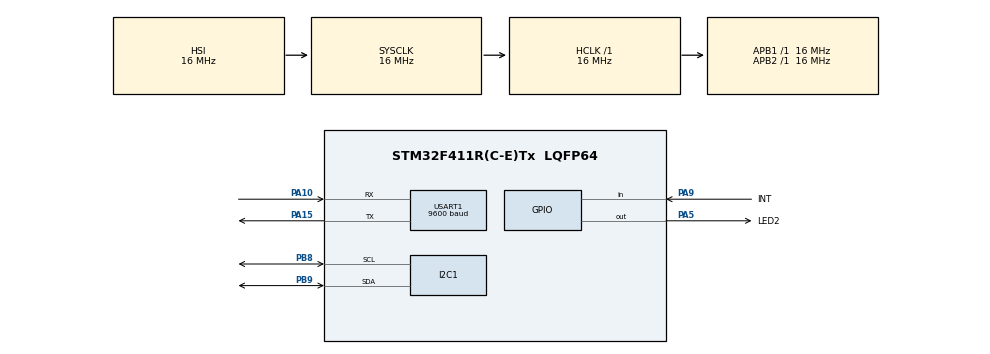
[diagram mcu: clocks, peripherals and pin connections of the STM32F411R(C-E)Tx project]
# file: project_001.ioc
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Mcu.Family=STM32F4
Mcu.Name=STM32F411R(C-E)Tx
Mcu.Package=LQFP64
NVIC.PriorityGroup=NVIC_PRIORITYGROUP_4
NVIC.TIM1_UP_TIM10_IRQn=true\:0\:0\:false\:false\:true\:true\:true\:true
NVIC.USART1_IRQn=true\:0\:0\:false\:false\:true\:true\:true\:true
PA10.Mode=Asynchronous
PA10.Signal=USART1_RX
PA15.Mode=Asynchronous
PA15.Signal=USART1_TX
PA5.GPIO_Label=LED2
PA5.Signal=GPIO_Output
PA9.GPIO_Label=INT
PA9.Signal=GPIO_Input
PB8.Mode=I2C
PB8.Signal=I2C1_SCL
PB9.Mode=I2C
PB9.Signal=I2C1_SDA
ProjectManager.HeapSize=0x200
ProjectManager.StackSize=0x400
ProjectManager.TargetToolchain=STM32CubeIDE
RCC.AHBFreq_Value=16000000
RCC.APB1Freq_Value=16000000
RCC.APB2Freq_Value=16000000
RCC.CortexFreq_Value=16000000
RCC.HSE_VALUE=25000000
RCC.HSI_VALUE=16000000
RCC.LSE_VALUE=32768
RCC.SYSCLKFreq_VALUE=16000000
RCC.VCOOutputFreq_Value=192000000
TIM10.AutoReloadPreload=TIM_AUTORELOAD_PRELOAD_ENABLE
TIM10.Period=9999
TIM10.Prescaler=1599
USART1.BaudRate=9600
USART1.VirtualMode=VM_ASYNC
VP_TIM10_VS_ClockSourceINT.Mode=Enable_Timer
board=custom

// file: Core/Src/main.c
/* USER CODE BEGIN Header */
/**
  ******************************************************************************
  * @file           : main.c
  * @brief          : Main program body
  ******************************************************************************
  * @attention
  *
  * Copyright (c) 2023 STMicroelectronics.
  * All rights reserved.
  *
  * This software is licensed under terms that can be found in the LICENSE file
  * in the root directory of this software component.
  * If no LICENSE file comes with this software, it is provided AS-IS.
  *
  ******************************************************************************
  */
/* USER CODE END Header */
#include "main.h"
#include "i2c.h"
#include "tim.h"
#include "usart.h"
#include "gpio.h"

/* USER CODE BEGIN Includes */
#include "TSL2591.h"

/* USER CODE END Includes */

/* USER CODE BEGIN PV */
unsigned int TemperatureInt = 0;
unsigned int light_value = 0;
uint8_t TempReg = 0x05;
float temp_val = 0.0;
uint16_t size = 0;
uint8_t buf[5] = {0};
char message_temp[10] = {0};
/* USER CODE END PV */

void SystemClock_Config(void);

int main(void)
{

  /* MCU Configuration--------------------------------------------------------*/

  /* Reset of all peripherals, Initializes the Flash interface and the Systick. */
  HAL_Init();

  /* Configure the system clock */
  SystemClock_Config();

  /* Initialize all configured peripherals */
  MX_GPIO_Init();
  MX_TIM10_Init();
  MX_USART1_UART_Init();
  MX_I2C1_Init();
  /* USER CODE BEGIN 2 */
  HAL_TIM_Base_Start_IT(&htim10);
  DEV_ModuleInit();
  TSL2591_Init();
  /* USER CODE END 2 */

  /* Infinite loop */
  while (1)
  {

    /* USER CODE BEGIN 3 */
	light_value = TSL2591_Read_Lux();

  }
  /* USER CODE END 3 */
}

void SystemClock_Config(void)
{
  RCC_OscInitTypeDef RCC_OscInitStruct = {0};
  RCC_ClkInitTypeDef RCC_ClkInitStruct = {0};

  /** Configure the main internal regulator output voltage
  */
  __HAL_RCC_PWR_CLK_ENABLE();
  __HAL_PWR_VOLTAGESCALING_CONFIG(PWR_REGULATOR_VOLTAGE_SCALE1);

  /** Initializes the RCC Oscillators according to the specified parameters
  * in the RCC_OscInitTypeDef structure.
  */
  RCC_OscInitStruct.OscillatorType = RCC_OSCILLATORTYPE_HSI;
  RCC_OscInitStruct.HSIState = RCC_HSI_ON;
  RCC_OscInitStruct.HSICalibrationValue = RCC_HSICALIBRATION_DEFAULT;
  RCC_OscInitStruct.PLL.PLLState = RCC_PLL_NONE;
  if (HAL_RCC_OscConfig(&RCC_OscInitStruct) != HAL_OK)
  {
    Error_Handler();
  }

  /** Initializes the CPU, AHB and APB buses clocks
  */
  RCC_ClkInitStruct.ClockType = RCC_CLOCKTYPE_HCLK|RCC_CLOCKTYPE_SYSCLK
                              |RCC_CLOCKTYPE_PCLK1|RCC_CLOCKTYPE_PCLK2;
  RCC_ClkInitStruct.SYSCLKSource = RCC_SYSCLKSOURCE_HSI;
  RCC_ClkInitStruct.AHBCLKDivider = RCC_SYSCLK_DIV1;
  RCC_ClkInitStruct.APB1CLKDivider = RCC_HCLK_DIV1;
  RCC_ClkInitStruct.APB2CLKDivider = RCC_HCLK_DIV1;

  if (HAL_RCC_ClockConfig(&RCC_ClkInitStruct, FLASH_LATENCY_0) != HAL_OK)
  {
    Error_Handler();
  }
}

/* USER CODE BEGIN 4 */

void HAL_TIM_PeriodElapsedCallback(TIM_HandleTypeDef *htim)
{
	if(htim -> Instance == TIM10) {
		//HAL_GPIO_TogglePin(LED2_GPIO_Port, LED2_Pin);
		HAL_I2C_Master_Transmit(&hi2c1, (0x18 << 1), &TempReg, 1, HAL_MAX_DELAY);
		HAL_I2C_Master_Receive(&hi2c1, (0x18 << 1), &buf[0], 2, HAL_MAX_DELAY);
		temp_val = (uint8_t)(buf[0] << 4) + buf[1] / 16.0;
		TemperatureInt = temp_val * 1000;
		size = sprintf(message_temp, "%d%d\n\r", TemperatureInt, light_value);
		HAL_UART_Transmit_IT(&huart1, message_temp, size); //sending one byte

	}
}

void HAL_UART_TxCpltCallback(UART_HandleTypeDef *huart)
{
	if(huart -> Instance == USART1)
	{
		HAL_GPIO_TogglePin(LED2_GPIO_Port, LED2_Pin);

	}
}

/* USER CODE END 4 */

void Error_Handler(void)
{
  __disable_irq();
  while (1)
  {
  }
}
